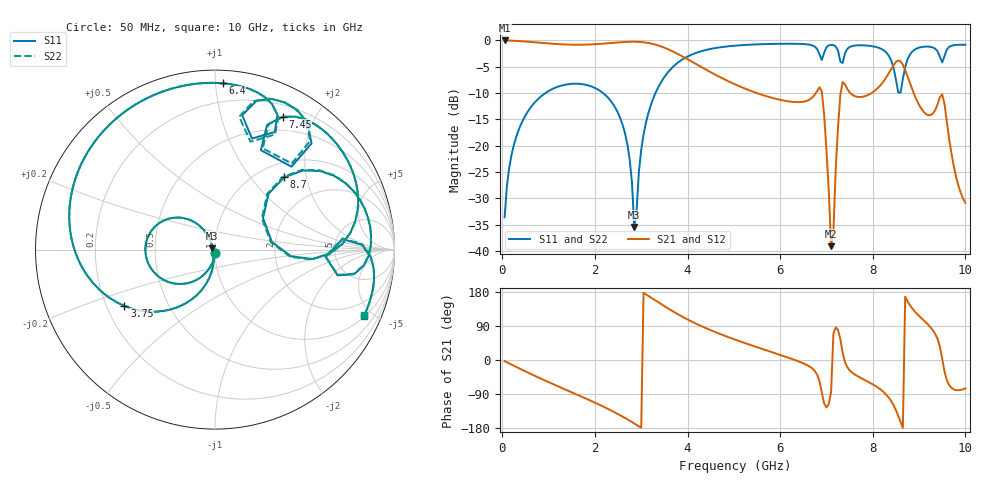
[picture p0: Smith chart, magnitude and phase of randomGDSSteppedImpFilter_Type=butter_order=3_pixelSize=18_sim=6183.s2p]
! freq	dB(S11)	phase(S11)	dB(S12)	phase(S12)
!  dB(S21)	phase(S21)	dB(S22)	phase(S22)
!S-par simulation data
#  GHz  S  DB  R 50
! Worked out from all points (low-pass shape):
!   200 points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, 50 MHz to 10 GHz, reference 50 ohm
!   highest |S21| = -0.01 dB at 50 MHz (marker M1); lowest = -39.1 dB at 7.1 GHz (marker M2)
!   |S21| within 3 dB of the highest: start of sweep to 3.882 GHz
!   lowest |S11| = -35.4 dB at 2.85 GHz (marker M3), VSWR 1.03, Z = 48.5 + j0.767 ohm
!   |S11| at or under -10 dB: start of sweep to 933.5 MHz; 2.174 GHz to 3.309 GHz (1.134 GHz wide, 41.4 % of centre)
!   |S22| runs from -35.6 to -0.6 dB; largest |S21 - S12| = 0
!   S11 on the Smith chart (normalised r, x): 50 MHz: 1.00, -0.04; 3.75 GHz: 0.27, -0.27; 6.4 GHz: 0.08, +1.04; 7.45 GHz: 0.33, +1.58; 8.7 GHz: 1.28, +1.49; 10 GHz: 1.06, -4.48
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0.05  -33.62 -92.9  -0.01 -3.1  -0.01 -3.1  -33.62 -92.9
0.5  -14.26 -120.6  -0.21 -30.1  -0.21 -30.1  -14.26 -120.6
1.75  -8.35 171.1  -0.81 -98.7  -0.81 -98.7  -8.35 171.0
2.55  -14.85 125.6  -0.35 -146.2  -0.35 -146.2  -14.85 125.5
2.75  -22.55 116.7  -0.25 -160.1  -0.25 -160.1  -22.56 116.3
2.85  -35.44 152.1  -0.25 -167.5  -0.25 -167.5  -35.60 151.3
3.05  -17.92 -98.8  -0.35 177.2  -0.35 177.2  -17.93 -98.6
3.4  -8.37 -122.9  -1.06 149.7  -1.06 149.7  -8.37 -122.8
3.75  -4.52 -148.1  -2.39 123.6  -2.39 123.6  -4.52 -148.1
5.05  -0.98 142.6  -8.45 52.8  -8.45 52.8  -0.98 142.6
6.4  -0.65 87.4  -11.73 -3.8  -11.73 -3.8  -0.65 87.4
6.7  -0.96 72.1  -10.81 -22.9  -10.81 -22.9  -0.98 71.9
6.9  -3.71 71.5  -9.69 -86.0  -9.69 -86.0  -3.97 71.8
7.1  -0.84 64.4  -39.11 -84.9  -39.11 -84.9  -0.85 65.2
7.3  -4.03 47.3  -10.30 54.7  -10.30 54.7  -3.84 48.3
7.45  -1.62 63.1  -9.22 -19.0  -9.22 -19.0  -1.59 62.7
8.35  -2.97 2.6  -6.17 -99.9  -6.17 -99.9  -2.98 2.4
8.55  -9.91 7.6  -3.82 -147.5  -3.82 -147.5  -10.07 7.4
8.7  -5.08 46.2  -5.65 166.9  -5.65 166.9  -5.12 46.9
9.1  -1.20 11.6  -13.59 104.6  -13.59 104.6  -1.20 11.9
9.5  -4.18 -3.7  -10.26 3.1  -10.26 3.1  -4.19 -3.5
10  -0.83 -23.9  -30.86 -75.0  -30.86 -75.0  -0.83 -23.7
